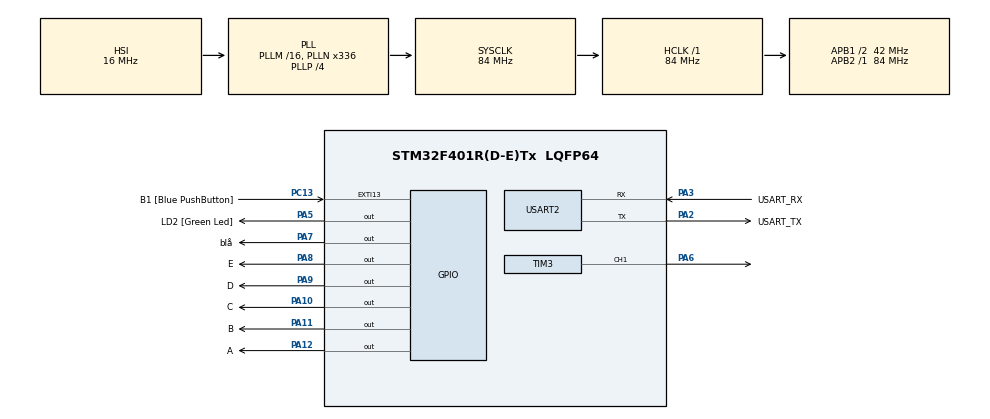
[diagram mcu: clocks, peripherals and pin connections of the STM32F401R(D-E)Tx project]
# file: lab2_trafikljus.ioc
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Mcu.Family=STM32F4
Mcu.Name=STM32F401R(D-E)Tx
Mcu.Package=LQFP64
NVIC.EXTI15_10_IRQn=true\:0\:0\:false\:false\:true\:true\:true\:true
NVIC.PriorityGroup=NVIC_PRIORITYGROUP_0
PA10.GPIO_Label=C
PA10.Signal=GPIO_Output
PA11.GPIO_Label=B
PA11.Signal=GPIO_Output
PA12.GPIO_Label=A
PA12.Signal=GPIO_Output
PA13.GPIO_Label=TMS
PA13.Mode=Serial_Wire
PA13.Signal=SYS_JTMS-SWDIO
PA14.GPIO_Label=TCK
PA14.Mode=Serial_Wire
PA14.Signal=SYS_JTCK-SWCLK
PA2.GPIO_Label=USART_TX
PA2.GPIO_Mode=GPIO_MODE_AF_PP
PA2.GPIO_PuPd=GPIO_NOPULL
PA2.GPIO_Speed=GPIO_SPEED_FREQ_LOW
PA2.Mode=Asynchronous
PA2.Signal=USART2_TX
PA3.GPIO_Label=USART_RX
PA3.GPIO_Mode=GPIO_MODE_AF_PP
PA3.GPIO_PuPd=GPIO_NOPULL
PA3.GPIO_Speed=GPIO_SPEED_FREQ_LOW
PA3.Mode=Asynchronous
PA3.Signal=USART2_RX
PA5.GPIO_Label=LD2 [Green Led]
PA5.GPIO_Mode=GPIO_MODE_OUTPUT_PP
PA5.GPIO_PuPd=GPIO_NOPULL
PA5.GPIO_Speed=GPIO_SPEED_FREQ_LOW
PA5.Signal=GPIO_Output
PA6.Signal=S_TIM3_CH1
PA7.GPIO_Label=bl\u00E5
PA7.Signal=GPIO_Output
PA8.GPIO_Label=E
PA8.Signal=GPIO_Output
PA9.GPIO_Label=D
PA9.Signal=GPIO_Output
PB3.GPIO_Label=SWO
PB3.Signal=SYS_JTDO-SWO
PC13-ANTI_TAMP.GPIO_Label=B1 [Blue PushButton]
PC13-ANTI_TAMP.GPIO_ModeDefaultEXTI=GPIO_MODE_IT_FALLING
PC13-ANTI_TAMP.GPIO_PuPd=GPIO_NOPULL
PC13-ANTI_TAMP.Signal=GPXTI13
PC14-OSC32_IN.Mode=LSE-External-Oscillator
PC14-OSC32_IN.Signal=RCC_OSC32_IN
PC15-OSC32_OUT.Mode=LSE-External-Oscillator
PC15-OSC32_OUT.Signal=RCC_OSC32_OUT
PH0\ -\ OSC_IN.Mode=HSE-External-Clock-Source
PH0\ -\ OSC_IN.Signal=RCC_OSC_IN
PH1\ -\ OSC_OUT.Mode=HSE-External-Clock-Source
PH1\ -\ OSC_OUT.Signal=RCC_OSC_OUT
ProjectManager.HeapSize=0x200
ProjectManager.StackSize=0x400
ProjectManager.TargetToolchain=STM32CubeIDE
RCC.48MHZClocksFreq_Value=48000000
RCC.AHBFreq_Value=84000000
RCC.APB1CLKDivider=RCC_HCLK_DIV2
RCC.APB1Freq_Value=42000000
RCC.APB1TimFreq_Value=84000000
RCC.APB2Freq_Value=84000000
RCC.APB2TimFreq_Value=84000000
RCC.CortexFreq_Value=84000000
RCC.HCLKFreq_Value=84000000
RCC.HSE_VALUE=8000000
RCC.HSI_VALUE=16000000
RCC.PLLN=336
RCC.PLLP=RCC_PLLP_DIV4
RCC.PLLQ=7
RCC.SYSCLKFreq_VALUE=84000000
RCC.SYSCLKSource=RCC_SYSCLKSOURCE_PLLCLK
RCC.VCOOutputFreq_Value=336000000
SH.S_TIM3_CH1.0=TIM3_CH1,PWM Generation1 CH1
TIM3.Channel-PWM\ Generation1\ CH1=TIM_CHANNEL_1
USART2.VirtualMode=VM_ASYNC
VP_TIM3_VS_ClockSourceINT.Mode=Internal
board=NUCLEO-F401RE

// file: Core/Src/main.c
/* USER CODE BEGIN Header */
/**
  ******************************************************************************
  * @file           : main.c
  * @brief          : Main program body
  ******************************************************************************
  * @attention
  *
  * Copyright (c) 2023 STMicroelectronics.
  * All rights reserved.
  *
  * This software is licensed under terms that can be found in the LICENSE file
  * in the root directory of this software component.
  * If no LICENSE file comes with this software, it is provided AS-IS.
  *
  ******************************************************************************
  */
/* USER CODE END Header */
#include "main.h"

/* USER CODE BEGIN Includes */
#include "abuzz.h"
/* USER CODE END Includes */

/* USER CODE BEGIN PTD */
enum event{
	ev_none,
	ev_buttton_push,
	ev_state_timeout,
	ev_error =-99
};

enum state{
	s_init,
	s_car_go,
	s_pushed_wait,
	s_cars_stopping,
	s_car_stopped,
	s_ped_go,
	s_ped_stopping,
	s_ped_stopped
};

/* USER CODE END PTD */

/* USER CODE BEGIN PD */

#define USE_ISR 0

#define EVQ_SIZE 10
enum event evq[ EVQ_SIZE ];
int evq_count = 0;
int evq_front_ix = 0;
int evq_rear_ix = 0;
int systick_count = 0;
uint32_t ticks_left_instate = 0;

/* USER CODE END PD */

TIM_HandleTypeDef htim3;

UART_HandleTypeDef huart2;

void SystemClock_Config(void);
static void MX_GPIO_Init(void);
static void MX_USART2_UART_Init(void);
static void MX_TIM3_Init(void);
/* USER CODE BEGIN PFP */

void set_traffic_lights(enum state s);
int is_button_pressed();
void push_button_light_on();
void push_button_light_off();
void evq_init();

void evq_push_back(enum event e);
enum event evq_pop_front();

/* USER CODE END PFP */

/* USER CODE BEGIN 0 */
void push_button_light_on(){
	HAL_GPIO_WritePin(bl__GPIO_Port,GPIO_PIN_7, GPIO_PIN_SET);
}

void push_button_light_off(){
	HAL_GPIO_WritePin(bl__GPIO_Port,GPIO_PIN_7, GPIO_PIN_RESET);
}
void set_traffic_lights(enum state s){

	GPIO_PinState A,B,C,D,E;

		A=B=C=D=E= GPIO_PIN_RESET;

		switch (s){

		case s_init:

			// diodes
			A=B=C=D=E= GPIO_PIN_SET;
		break;

		case s_car_go:

			C=D= GPIO_PIN_SET;
		break;

		case s_pushed_wait:
			 C=D= GPIO_PIN_SET;
		break;

		case s_cars_stopping:
			B=D= GPIO_PIN_SET;
		break;

		case s_car_stopped:
			A=D= GPIO_PIN_SET;
		break;

		case s_ped_go:
			A=E= GPIO_PIN_SET;
		break;

		case s_ped_stopping:
			A=D= GPIO_PIN_SET;
		break;

		case s_ped_stopped:
			B=D= GPIO_PIN_SET;
		break;

		default:

		}

		HAL_GPIO_WritePin(A_GPIO_Port,GPIO_PIN_12, A);
		HAL_GPIO_WritePin(B_GPIO_Port,GPIO_PIN_11, B);
		HAL_GPIO_WritePin(C_GPIO_Port,GPIO_PIN_10, C);
		HAL_GPIO_WritePin(D_GPIO_Port,GPIO_PIN_9, D);
		HAL_GPIO_WritePin(E_GPIO_Port,GPIO_PIN_8, E);
}

int is_button_pressed(){
	if(GPIOC->IDR & (1 << 13)){
		return 0;
	}
	return 1;
}

void evq_init(){
	for(int i =0;i<EVQ_SIZE;i++){
		evq[i] = ev_error;
	}
}

void evq_push_back(enum event e) {
    if (evq_count < EVQ_SIZE) {
        evq[evq_rear_ix] = e;
        evq_rear_ix = (evq_rear_ix + 1) % EVQ_SIZE; // Cirkulär kö
        evq_count++;
    }
}

enum event evq_pop_front() {
	enum event e = ev_none;
    if (evq_count > 0) {
        e = evq[evq_front_ix];
        evq[evq_front_ix] = ev_error; // Återställ platsen till ev_error
        evq_front_ix = (evq_front_ix + 1) % EVQ_SIZE; // Cirkulär kö
        evq_count--;
    }
     return e; // Returnera ev_error som felindikator

}

void my_systick_handler()
{

	if (ticks_left_instate > 0)
	{
		ticks_left_instate--;

		if (ticks_left_instate == 0)
			{
				HAL_GPIO_TogglePin(LD2_GPIO_Port, LD2_Pin);
				evq_push_back(ev_state_timeout);
			}
	}

}

void HAL_GPIO_EXTI_Callback( uint16_t GPIO_Pin ){
	if(GPIO_Pin == GPIO_PIN_13){
		 enum event e = ev_buttton_push;
		 evq_push_back(e);
	}
}

/* USER CODE END 0 */

int main(void)
{

  /* MCU Configuration--------------------------------------------------------*/

  /* Reset of all peripherals, Initializes the Flash interface and the Systick. */
  HAL_Init();

  /* Configure the system clock */
  SystemClock_Config();

  /* Initialize all configured peripherals */
  MX_GPIO_Init();
  MX_USART2_UART_Init();
  MX_TIM3_Init();
  /* USER CODE BEGIN 2 */
  HAL_TIM_PWM_Start(&htim3, TIM_CHANNEL_1);

  //abuzz_stop();

  enum state state = s_init;
  enum event ev = ev_none;

  /* USER CODE END 2 */

  /* Infinite loop */
  /* USER CODE BEGIN WHILE */
  //int curr_press;
  //int last_press = 0;
  //uint32_t curr_tick = 0;
  //uint32_t last_tick = 0;

  evq_init();
 // ev = evq_pop_front();

  while (1)
    {
	  ev = evq_pop_front();

  	//curr_press = is_button_pressed();
  	//curr_tick = HAL_GetTick();

  	/*
  	if(curr_press && !last_press)
  	{

  		ev = ev_buttton_push;
  	}

  	if(curr_tick != last_tick){

  		if (ticks_left_instate >= 0)
  		{
  			if (ticks_left_instate > 0)
  			{
  				ticks_left_instate--;
  			}
  			if (ticks_left_instate == 0)
  			{
  				ev = ev_state_timeout;
  			}
  		}

  		last_tick = curr_tick;

  	}

  	*/

	  switch(state){
	  case s_init:
		  if(ev == ev_buttton_push)
		  {
			  ticks_left_instate = 2000;
			  state = s_car_stopped;
			  set_traffic_lights(state);

		  }
		  break;

	  case s_car_stopped:
		  if(ev == ev_state_timeout)
		  {
			  abuzz_start();
			  abuzz_p_short();
			  state = s_ped_go;
			  ticks_left_instate = 5000;
			  set_traffic_lights(state);
			  push_button_light_off();

		  }
		  break;

	  case s_ped_go:
		  if(ev == ev_state_timeout)
		  {
			  abuzz_start();
			  abuzz_p_long();
			  ticks_left_instate = 2000;
			  state = s_ped_stopping;
			  set_traffic_lights(state);
		  }
		  break;

	  case s_ped_stopping:
		  if(ev == ev_state_timeout)
		  {
			  ticks_left_instate = 2000;
			  state= s_ped_stopped;
			  set_traffic_lights(state);
		  }
		  break;

	  case s_ped_stopped:
		  if(ev == ev_state_timeout)
		  {
			  ticks_left_instate = 2000;
			  state = s_car_go;
			  set_traffic_lights(state);

		  }
		  break;

	  case s_car_go:
		  if(ev == ev_buttton_push)
		  {
			  state = s_pushed_wait;
			  ticks_left_instate = 2000;
			  push_button_light_on();
			  set_traffic_lights(state);
		  }
		  break;

	  case s_pushed_wait:
		  if(ev == ev_state_timeout)
		  {
			  ticks_left_instate = 2000;
			  state = s_cars_stopping;
			  set_traffic_lights(state);
		  }
		  break;

	  case s_cars_stopping:
		  if(ev == ev_state_timeout)
		  {
			  ticks_left_instate = 2000;
			  state = s_car_stopped;
			  set_traffic_lights(state);
		  }
		  break;

	  default:
		  state = s_init;
	  }

    /* USER CODE END WHILE */

}
}
void SystemClock_Config(void)
{
  RCC_OscInitTypeDef RCC_OscInitStruct = {0};
  RCC_ClkInitTypeDef RCC_ClkInitStruct = {0};

  /** Configure the main internal regulator output voltage
  */
  __HAL_RCC_PWR_CLK_ENABLE();
  __HAL_PWR_VOLTAGESCALING_CONFIG(PWR_REGULATOR_VOLTAGE_SCALE2);

  /** Initializes the RCC Oscillators according to the specified parameters
  * in the RCC_OscInitTypeDef structure.
  */
  RCC_OscInitStruct.OscillatorType = RCC_OSCILLATORTYPE_HSI;
  RCC_OscInitStruct.HSIState = RCC_HSI_ON;
  RCC_OscInitStruct.HSICalibrationValue = RCC_HSICALIBRATION_DEFAULT;
  RCC_OscInitStruct.PLL.PLLState = RCC_PLL_ON;
  RCC_OscInitStruct.PLL.PLLSource = RCC_PLLSOURCE_HSI;
  RCC_OscInitStruct.PLL.PLLM = 16;
  RCC_OscInitStruct.PLL.PLLN = 336;
  RCC_OscInitStruct.PLL.PLLP = RCC_PLLP_DIV4;
  RCC_OscInitStruct.PLL.PLLQ = 7;
  if (HAL_RCC_OscConfig(&RCC_OscInitStruct) != HAL_OK)
  {
    Error_Handler();
  }

  /** Initializes the CPU, AHB and APB buses clocks
  */
  RCC_ClkInitStruct.ClockType = RCC_CLOCKTYPE_HCLK|RCC_CLOCKTYPE_SYSCLK
                              |RCC_CLOCKTYPE_PCLK1|RCC_CLOCKTYPE_PCLK2;
  RCC_ClkInitStruct.SYSCLKSource = RCC_SYSCLKSOURCE_PLLCLK;
  RCC_ClkInitStruct.AHBCLKDivider = RCC_SYSCLK_DIV1;
  RCC_ClkInitStruct.APB1CLKDivider = RCC_HCLK_DIV2;
  RCC_ClkInitStruct.APB2CLKDivider = RCC_HCLK_DIV1;

  if (HAL_RCC_ClockConfig(&RCC_ClkInitStruct, FLASH_LATENCY_2) != HAL_OK)
  {
    Error_Handler();
  }
}

static void MX_TIM3_Init(void)
{

  TIM_ClockConfigTypeDef sClockSourceConfig = {0};
  TIM_MasterConfigTypeDef sMasterConfig = {0};
  TIM_OC_InitTypeDef sConfigOC = {0};

  htim3.Instance = TIM3;
  htim3.Init.Prescaler = 0;
  htim3.Init.CounterMode = TIM_COUNTERMODE_UP;
  htim3.Init.Period = 65535;
  htim3.Init.ClockDivision = TIM_CLOCKDIVISION_DIV1;
  htim3.Init.AutoReloadPreload = TIM_AUTORELOAD_PRELOAD_DISABLE;
  if (HAL_TIM_Base_Init(&htim3) != HAL_OK)
  {
    Error_Handler();
  }
  sClockSourceConfig.ClockSource = TIM_CLOCKSOURCE_INTERNAL;
  if (HAL_TIM_ConfigClockSource(&htim3, &sClockSourceConfig) != HAL_OK)
  {
    Error_Handler();
  }
  if (HAL_TIM_PWM_Init(&htim3) != HAL_OK)
  {
    Error_Handler();
  }
  sMasterConfig.MasterOutputTrigger = TIM_TRGO_RESET;
  sMasterConfig.MasterSlaveMode = TIM_MASTERSLAVEMODE_DISABLE;
  if (HAL_TIMEx_MasterConfigSynchronization(&htim3, &sMasterConfig) != HAL_OK)
  {
    Error_Handler();
  }
  sConfigOC.OCMode = TIM_OCMODE_PWM1;
  sConfigOC.Pulse = 0;
  sConfigOC.OCPolarity = TIM_OCPOLARITY_HIGH;
  sConfigOC.OCFastMode = TIM_OCFAST_DISABLE;
  if (HAL_TIM_PWM_ConfigChannel(&htim3, &sConfigOC, TIM_CHANNEL_1) != HAL_OK)
  {
    Error_Handler();
  }
  HAL_TIM_MspPostInit(&htim3);

}

static void MX_USART2_UART_Init(void)
{

  huart2.Instance = USART2;
  huart2.Init.BaudRate = 115200;
  huart2.Init.WordLength = UART_WORDLENGTH_8B;
  huart2.Init.StopBits = UART_STOPBITS_1;
  huart2.Init.Parity = UART_PARITY_NONE;
  huart2.Init.Mode = UART_MODE_TX_RX;
  huart2.Init.HwFlowCtl = UART_HWCONTROL_NONE;
  huart2.Init.OverSampling = UART_OVERSAMPLING_16;
  if (HAL_UART_Init(&huart2) != HAL_OK)
  {
    Error_Handler();
  }

}

static void MX_GPIO_Init(void)
{
  GPIO_InitTypeDef GPIO_InitStruct = {0};

  /* GPIO Ports Clock Enable */
  __HAL_RCC_GPIOC_CLK_ENABLE();
  __HAL_RCC_GPIOH_CLK_ENABLE();
  __HAL_RCC_GPIOA_CLK_ENABLE();
  __HAL_RCC_GPIOB_CLK_ENABLE();

  /*Configure GPIO pin Output Level */
  HAL_GPIO_WritePin(GPIOA, LD2_Pin|bl__Pin|E_Pin|D_Pin
                          |C_Pin|B_Pin|A_Pin, GPIO_PIN_RESET);

  /*Configure GPIO pin : B1_Pin */
  GPIO_InitStruct.Pin = B1_Pin;
  GPIO_InitStruct.Mode = GPIO_MODE_IT_FALLING;
  GPIO_InitStruct.Pull = GPIO_NOPULL;
  HAL_GPIO_Init(B1_GPIO_Port, &GPIO_InitStruct);

  /*Configure GPIO pins : LD2_Pin bl__Pin E_Pin D_Pin
                           C_Pin B_Pin A_Pin */
  GPIO_InitStruct.Pin = LD2_Pin|bl__Pin|E_Pin|D_Pin
                          |C_Pin|B_Pin|A_Pin;
  GPIO_InitStruct.Mode = GPIO_MODE_OUTPUT_PP;
  GPIO_InitStruct.Pull = GPIO_NOPULL;
  GPIO_InitStruct.Speed = GPIO_SPEED_FREQ_LOW;
  HAL_GPIO_Init(GPIOA, &GPIO_InitStruct);

  /* EXTI interrupt init*/
  HAL_NVIC_SetPriority(EXTI15_10_IRQn, 0, 0);
  HAL_NVIC_EnableIRQ(EXTI15_10_IRQn);

}

void Error_Handler(void)
{
  __disable_irq();
  while (1)
  {
  }
}
